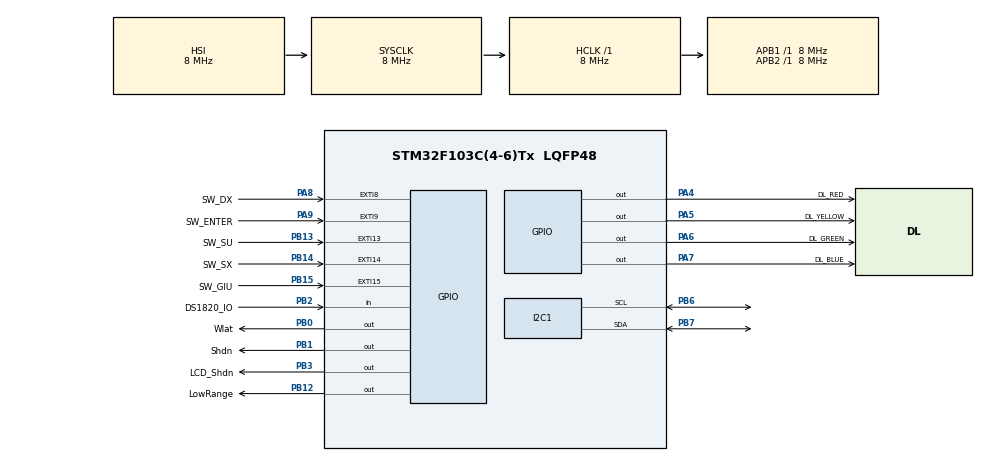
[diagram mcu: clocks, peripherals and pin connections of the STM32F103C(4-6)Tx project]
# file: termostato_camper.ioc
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I2C1.I2C_Mode=I2C_Fast
I2C1.NoStretchMode=I2C_NOSTRETCH_ENABLE
Mcu.Family=STM32F1
Mcu.Name=STM32F103C(4-6)Tx
Mcu.Package=LQFP48
Mcu.UserConstants=mcp_addr,0x3c;HundredMsTimer1,99
NVIC.EXTI15_10_IRQn=true\:0\:0\:false\:false\:true\:true\:true\:true
NVIC.EXTI9_5_IRQn=true\:0\:0\:false\:false\:true\:true\:true\:true
NVIC.PriorityGroup=NVIC_PRIORITYGROUP_4
NVIC.RTC_Alarm_IRQn=true\:0\:0\:false\:false\:true\:true\:true\:true
NVIC.TIM1_CC_IRQn=true\:0\:0\:false\:false\:true\:true\:true\:true
NVIC.TIM1_UP_IRQn=true\:0\:0\:false\:false\:true\:true\:true\:true
NVIC.TIM2_IRQn=true\:0\:0\:false\:false\:true\:true\:true\:true
PA13.Mode=Serial_Wire
PA13.Signal=SYS_JTMS-SWDIO
PA14.Mode=Serial_Wire
PA14.Signal=SYS_JTCK-SWCLK
PA4.GPIO_Label=DL_RED
PA4.PinState=GPIO_PIN_SET
PA4.Signal=GPIO_Output
PA5.GPIO_Label=DL_YELLOW
PA5.PinState=GPIO_PIN_SET
PA5.Signal=GPIO_Output
PA6.GPIO_Label=DL_GREEN
PA6.PinState=GPIO_PIN_SET
PA6.Signal=GPIO_Output
PA7.GPIO_Label=DL_BLUE
PA7.PinState=GPIO_PIN_SET
PA7.Signal=GPIO_Output
PA8.GPIO_Label=SW_DX
PA8.GPIO_ModeDefaultEXTI=GPIO_MODE_IT_RISING_FALLING
PA8.GPIO_PuPd=GPIO_PULLUP
PA8.Signal=GPXTI8
PA9.GPIO_Label=SW_ENTER
PA9.GPIO_ModeDefaultEXTI=GPIO_MODE_IT_RISING_FALLING
PA9.GPIO_PuPd=GPIO_PULLUP
PA9.Signal=GPXTI9
PB0.GPIO_Label=Wlat
PB0.Signal=GPIO_Output
PB1.GPIO_Label=Shdn
PB1.PinState=GPIO_PIN_SET
PB1.Signal=GPIO_Output
PB12.GPIO_Label=LowRange
PB12.Signal=GPIO_Output
PB13.GPIO_Label=SW_SU
PB13.GPIO_ModeDefaultEXTI=GPIO_MODE_IT_RISING_FALLING
PB13.GPIO_PuPd=GPIO_PULLUP
PB13.Signal=GPXTI13
PB14.GPIO_Label=SW_SX
PB14.GPIO_ModeDefaultEXTI=GPIO_MODE_IT_RISING_FALLING
PB14.GPIO_PuPd=GPIO_PULLUP
PB14.Signal=GPXTI14
PB15.GPIO_Label=SW_GIU
PB15.GPIO_ModeDefaultEXTI=GPIO_MODE_IT_RISING_FALLING
PB15.GPIO_PuPd=GPIO_PULLUP
PB15.Signal=GPXTI15
PB2.GPIO_Label=DS1820_IO
PB2.Signal=GPIO_Input
PB3.GPIO_Label=LCD_Shdn
PB3.Signal=GPIO_Output
PB6.Mode=I2C
PB6.Signal=I2C1_SCL
PB7.Mode=I2C
PB7.Signal=I2C1_SDA
ProjectManager.HeapSize=0x200
ProjectManager.StackSize=0x400
ProjectManager.TargetToolchain=STM32CubeIDE
RCC.AHBFreq_Value=8000000
RCC.APB1Freq_Value=8000000
RCC.APB1TimFreq_Value=8000000
RCC.APB2Freq_Value=8000000
RCC.APB2TimFreq_Value=8000000
RCC.HCLKFreq_Value=8000000
RCC.SYSCLKFreq_VALUE=8000000
RCC.USBFreq_Value=8000000
TIM1.AutoReloadPreload=TIM_AUTORELOAD_PRELOAD_ENABLE
TIM1.Period=HundredMsTimer1
TIM1.Prescaler=7999
TIM2.AutoReloadPreload=TIM_AUTORELOAD_PRELOAD_ENABLE
TIM2.Period=249
TIM2.Prescaler=32000-1
TIM3.AutoReloadPreload=TIM_AUTORELOAD_PRELOAD_ENABLE
TIM3.Period=65535
TIM3.Prescaler=7
VP_RTC_VS_RTC_Activate.Mode=RTC_Enabled
VP_TIM1_VS_ClockSourceINT.Mode=Internal
VP_TIM2_VS_ClockSourceINT.Mode=Internal
VP_TIM3_VS_ClockSourceINT.Mode=Internal
board=custom

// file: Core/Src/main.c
/* USER CODE BEGIN Header */
/**
 ******************************************************************************
 * @file           : main.c
 * @brief          : Main program body
 ******************************************************************************
 * @attention
 *
 * Copyright (c) 2024 STMicroelectronics.
 * All rights reserved.
 *
 * This software is licensed under terms that can be found in the LICENSE file
 * in the root directory of this software component.
 * If no LICENSE file comes with this software, it is provided AS-IS.
 *
 ******************************************************************************
 */
/* USER CODE END Header */
#include "main.h"

/* USER CODE BEGIN Includes */
#include <stdio.h>
#include <math.h>
#include "ds18b20.h"
#include "ssd1306.h"
#include "mcp45hv51.h"
#include "eeprom.h"

/* USER CODE END Includes */

/* USER CODE BEGIN PD */

#define MAIN_MENU_IDX 		0
#define ROW_CHANGED(data)	(data & 0x10)
#define ROW_CHANGE_CLEAR  	0xcf
#define ROW_CHANGE_SET		0x10
#define ROW_SETTING_ON		0x20
#define ROW_SELECTED_MASK   0x0f

#define BUTTON_LONG_TIME		5;

#define WIPER_UPPER_STEP 		255
#define WIPER_RES				5000.0
#define WIPER_OHMxSTEP 			(WIPER_RES/WIPER_UPPER_STEP)
#define WIPER_OHM_AT_POS(pos)	((pos*WIPER_RES)/WIPER_UPPER_STEP)

#define BASE_RES 		10000
#define REF_TEMP 		(25+273.25)
#define REF_TEMP_INV	(1/REF_TEMP)

#define SETTING_POS_CHAR 12
#define SETTING_MAX_ROW 4

#define HAS_DIAG 0

/* USER CODE END PD */

I2C_HandleTypeDef hi2c1;

RTC_HandleTypeDef hrtc;

TIM_HandleTypeDef htim1;
TIM_HandleTypeDef htim2;
TIM_HandleTypeDef htim3;

/* USER CODE BEGIN PV */
char display_row[SSD1306_WIDTH / 7 + 1];
unsigned char hasToGoInStop;
//uint8_t setTempH, setTempL;

//eeprom stored data
uint16_t __attribute__ ((section (".noinit"))) beta;
uint16_t __attribute__ ((section (".noinit"))) lowRes_value;
uint16_t __attribute__ ((section (".noinit"))) ohm_correction;
uint16_t __attribute__ ((section (".noinit"))) loopTime;
uint16_t __attribute__ ((section (".noinit"))) tempSet;
uint16_t __attribute__ ((section (".noinit"))) thresh_temp;
uint16_t __attribute__ ((section (".noinit"))) deltaT;
uint16_t __attribute__ ((section (".noinit"))) deltaR;

uint16_t loopCycles;

//         T * T0      Rt
// Beta = -------- ln ----
//         T0 - T      R0

//                           1     1
// Rt = R0 * exp ( Beta * ( --- - --- )
//                           T     T0

//             Beta
// T = ---------------------
//          Rt     Beta
//      ln ---- + ------
//          R0*     T0

//uint16_t beta;  // T1 = 25 + 273.15

// menu related
typedef void (*menuMethodPtr)(void);
typedef struct menuItem {
	uint8_t ref;
	uint8_t prev;
	uint8_t next;
	char *title;
	menuMethodPtr fptr;
	uint8_t tout;
} menuItem_t;

#if defined HAS_DIAG && HAS_DIAG == 1
menuItem_t menu[] = { { MAIN_MENU_IDX, MAIN_MENU_IDX, 1, "Main", mainmenu, 30 }, { 1, MAIN_MENU_IDX, 2, "Diagnostica", diagnostic, 30 }, { 2, 1, 3,
		"T. Settings", settingsTemp, 30 }, { 3, 2, 3, "Gen Settings", settingsGlob, 30 } };
#else
menuItem_t menu[] = { { MAIN_MENU_IDX, MAIN_MENU_IDX, 1, "Main", mainmenu, 30 }, { 1, MAIN_MENU_IDX, 2,
		"T. Settings", settingsTemp, 30 }, { 2, 1, 2, "Gen Settings", settingsGlob, 30 } };
#endif

uint8_t buttonTime = 0;
uint8_t currentMenu = 0;
uint8_t display2Update = 1;
uint8_t selectedRow = 1;
uint8_t mode;
uint8_t displayTime2Wait = 30;
// button related
// must be thread safe
uint16_t buttons_state = 0;
//uint8_t settings_mode = 0;

/* USER CODE END PV */

void SystemClock_Config(void);
static void MX_GPIO_Init(void);
static void MX_I2C1_Init(void);
static void MX_TIM3_Init(void);
static void MX_TIM1_Init(void);
static void MX_RTC_Init(void);
static void MX_TIM2_Init(void);

int main(void)
{

  /* MCU Configuration--------------------------------------------------------*/

  /* Reset of all peripherals, Initializes the Flash interface and the Systick. */
  HAL_Init();

  /* Configure the system clock */
  SystemClock_Config();

  /* Initialize all configured peripherals */
  MX_GPIO_Init();
  MX_I2C1_Init();
  MX_TIM3_Init();
  MX_TIM1_Init();
  MX_RTC_Init();
  MX_TIM2_Init();

  /* Infinite loop */
  /* USER CODE BEGIN WHILE */
	eepromInit();
	loadDataFromEEprom();
	// for Temperature Acquisition
	HAL_TIM_Base_Start(&htim3);
	HAL_TIM_Base_Start_IT(&htim1);
	HAL_TIM_Base_Start_IT(&htim2);
	//HAL_TIMEx_OCN_Start_IT(&htim1, TIM_CHANNEL_1);

	// take return value ...
	mcp45hv51_Init();

	SSD1306_Init();
	SSD1306_GotoXY(0, 0);
	SSD1306_Puts("      TRUMA", &Font_7x10, 1);
	SSD1306_GotoXY(0, 12);
	SSD1306_Puts("  Emulatore NTC", &Font_7x10, 1);
	SSD1306_GotoXY(0, 24);
//	sprintf(display_row, "WIPER POS: %u", readWiper());

	SSD1306_Puts(display_row, &Font_7x10, 1);
	SSD1306_UpdateScreen();
	HAL_Delay(1000);
	display2Update = 1;
	currentMenu = 0;
	hasToGoInStop = 0;
	uint8_t oldGoInStop = hasToGoInStop;
	while (1) {
		if(oldGoInStop == 1 && oldGoInStop != hasToGoInStop) {
//			//waked-up by external interrupt restore
			SSD1306_ON();
			SSD1306_Init();
			oldGoInStop = hasToGoInStop;
		}
		//check if timeout reached
		if(displayTime2Wait==0) {
			//discard every parameter changes
			selectedRow &= ~ROW_SETTING_ON;
			selectedRow |= ROW_CHANGE_SET;
			loadDataFromEEprom();
			//if already on main menu then shutdown the display and enable the hasToGoInStop
			if(currentMenu == MAIN_MENU_IDX) {
				hasToGoInStop = 1;
				oldGoInStop = hasToGoInStop;
				SSD1306_OFF();
			}
			else {
				//return to the main menu
				currentMenu = MAIN_MENU_IDX;
				//reload the timer for the main menu
				displayTime2Wait= menu[currentMenu].tout;
				display2Update = 1;
			}
		}
		if (display2Update != 0) {
			updateMenu();
		}

		if (hasToGoInStop == 0) {
			menu[currentMenu].fptr();
			SSD1306_UpdateScreen();
		}
		settingOperation();
    /* USER CODE END WHILE */

    /* USER CODE BEGIN 3 */
		//HAL_Delay(200); //system wait

		if (hasToGoInStop == 1) {
			//set a mock time
			RTC_TimeTypeDef time = { 10U, 11U, 10U };
			HAL_RTC_SetTime(&hrtc, &time, RTC_FORMAT_BIN);

			// set alarm time for 20 RTC cycle about 20 sec
			RTC_AlarmTypeDef alarm = { { 10U, 11U, 30U }, RTC_ALARM_A };
			HAL_RTC_SetAlarm_IT(&hrtc, &alarm, RTC_FORMAT_BIN);

			/*Suspend Tick increment to prevent wakeup by Systick interrupt.
			 Otherwise the Systick interrupt will wake up the device within 1ms (HAL time base)*/
			HAL_SuspendTick();
			//stop timer 1 to avoid interrupt
			HAL_TIM_Base_Stop_IT(&htim1);
			//stop timer 2 to avoid interrupt
			HAL_TIM_Base_Stop_IT(&htim2);
			//go in stop mode. it we waked up from alarm every 20s
			__HAL_PWR_CLEAR_FLAG(PWR_FLAG_WU);
			//Go in stop mode
			//HAL_PWR_EnterSTOPMode(PWR_MAINREGULATOR_ON, PWR_STOPENTRY_WFI);
			HAL_PWR_EnterSTOPMode(PWR_LOWPOWERREGULATOR_ON, PWR_STOPENTRY_WFI);
			//waked up from RTC or by pressing a button
			//restore other form of interrupt
			HAL_ResumeTick();
			//restart timers
			HAL_TIM_Base_Start_IT(&htim1);
			HAL_TIM_Base_Start_IT(&htim2);

		} // end if hasToCoInStop

	}
  /* USER CODE END 3 */
}

void SystemClock_Config(void)
{
  RCC_OscInitTypeDef RCC_OscInitStruct = {0};
  RCC_ClkInitTypeDef RCC_ClkInitStruct = {0};
  RCC_PeriphCLKInitTypeDef PeriphClkInit = {0};

  /** Initializes the RCC Oscillators according to the specified parameters
  * in the RCC_OscInitTypeDef structure.
  */
  RCC_OscInitStruct.OscillatorType = RCC_OSCILLATORTYPE_HSI|RCC_OSCILLATORTYPE_LSI;
  RCC_OscInitStruct.HSIState = RCC_HSI_ON;
  RCC_OscInitStruct.HSICalibrationValue = RCC_HSICALIBRATION_DEFAULT;
  RCC_OscInitStruct.LSIState = RCC_LSI_ON;
  RCC_OscInitStruct.PLL.PLLState = RCC_PLL_NONE;
  if (HAL_RCC_OscConfig(&RCC_OscInitStruct) != HAL_OK)
  {
    Error_Handler();
  }

  /** Initializes the CPU, AHB and APB buses clocks
  */
  RCC_ClkInitStruct.ClockType = RCC_CLOCKTYPE_HCLK|RCC_CLOCKTYPE_SYSCLK
                              |RCC_CLOCKTYPE_PCLK1|RCC_CLOCKTYPE_PCLK2;
  RCC_ClkInitStruct.SYSCLKSource = RCC_SYSCLKSOURCE_HSI;
  RCC_ClkInitStruct.AHBCLKDivider = RCC_SYSCLK_DIV1;
  RCC_ClkInitStruct.APB1CLKDivider = RCC_HCLK_DIV1;
  RCC_ClkInitStruct.APB2CLKDivider = RCC_HCLK_DIV1;

  if (HAL_RCC_ClockConfig(&RCC_ClkInitStruct, FLASH_LATENCY_0) != HAL_OK)
  {
    Error_Handler();
  }
  PeriphClkInit.PeriphClockSelection = RCC_PERIPHCLK_RTC;
  PeriphClkInit.RTCClockSelection = RCC_RTCCLKSOURCE_LSI;
  if (HAL_RCCEx_PeriphCLKConfig(&PeriphClkInit) != HAL_OK)
  {
    Error_Handler();
  }
}

static void MX_I2C1_Init(void)
{

  hi2c1.Instance = I2C1;
  hi2c1.Init.ClockSpeed = 400000;
  hi2c1.Init.DutyCycle = I2C_DUTYCYCLE_2;
  hi2c1.Init.OwnAddress1 = 0;
  hi2c1.Init.AddressingMode = I2C_ADDRESSINGMODE_7BIT;
  hi2c1.Init.DualAddressMode = I2C_DUALADDRESS_DISABLE;
  hi2c1.Init.OwnAddress2 = 0;
  hi2c1.Init.GeneralCallMode = I2C_GENERALCALL_DISABLE;
  hi2c1.Init.NoStretchMode = I2C_NOSTRETCH_ENABLE;
  if (HAL_I2C_Init(&hi2c1) != HAL_OK)
  {
    Error_Handler();
  }

}

static void MX_RTC_Init(void)
{

  /** Initialize RTC Only
  */
  hrtc.Instance = RTC;
  hrtc.Init.AsynchPrediv = RTC_AUTO_1_SECOND;
  hrtc.Init.OutPut = RTC_OUTPUTSOURCE_ALARM;
  if (HAL_RTC_Init(&hrtc) != HAL_OK)
  {
    Error_Handler();
  }

}

static void MX_TIM1_Init(void)
{

  TIM_ClockConfigTypeDef sClockSourceConfig = {0};
  TIM_MasterConfigTypeDef sMasterConfig = {0};

  htim1.Instance = TIM1;
  htim1.Init.Prescaler = 7999;
  htim1.Init.CounterMode = TIM_COUNTERMODE_UP;
  htim1.Init.Period = HundredMsTimer1;
  htim1.Init.ClockDivision = TIM_CLOCKDIVISION_DIV1;
  htim1.Init.RepetitionCounter = 0;
  htim1.Init.AutoReloadPreload = TIM_AUTORELOAD_PRELOAD_ENABLE;
  if (HAL_TIM_Base_Init(&htim1) != HAL_OK)
  {
    Error_Handler();
  }
  sClockSourceConfig.ClockSource = TIM_CLOCKSOURCE_INTERNAL;
  if (HAL_TIM_ConfigClockSource(&htim1, &sClockSourceConfig) != HAL_OK)
  {
    Error_Handler();
  }
  sMasterConfig.MasterOutputTrigger = TIM_TRGO_RESET;
  sMasterConfig.MasterSlaveMode = TIM_MASTERSLAVEMODE_DISABLE;
  if (HAL_TIMEx_MasterConfigSynchronization(&htim1, &sMasterConfig) != HAL_OK)
  {
    Error_Handler();
  }

}

static void MX_TIM2_Init(void)
{

  TIM_ClockConfigTypeDef sClockSourceConfig = {0};
  TIM_MasterConfigTypeDef sMasterConfig = {0};

  htim2.Instance = TIM2;
  htim2.Init.Prescaler = 32000-1;
  htim2.Init.CounterMode = TIM_COUNTERMODE_UP;
  htim2.Init.Period = 249;
  htim2.Init.ClockDivision = TIM_CLOCKDIVISION_DIV1;
  htim2.Init.AutoReloadPreload = TIM_AUTORELOAD_PRELOAD_ENABLE;
  if (HAL_TIM_Base_Init(&htim2) != HAL_OK)
  {
    Error_Handler();
  }
  sClockSourceConfig.ClockSource = TIM_CLOCKSOURCE_INTERNAL;
  if (HAL_TIM_ConfigClockSource(&htim2, &sClockSourceConfig) != HAL_OK)
  {
    Error_Handler();
  }
  sMasterConfig.MasterOutputTrigger = TIM_TRGO_RESET;
  sMasterConfig.MasterSlaveMode = TIM_MASTERSLAVEMODE_DISABLE;
  if (HAL_TIMEx_MasterConfigSynchronization(&htim2, &sMasterConfig) != HAL_OK)
  {
    Error_Handler();
  }

}

static void MX_TIM3_Init(void)
{

  TIM_ClockConfigTypeDef sClockSourceConfig = {0};
  TIM_MasterConfigTypeDef sMasterConfig = {0};

  htim3.Instance = TIM3;
  htim3.Init.Prescaler = 7;
  htim3.Init.CounterMode = TIM_COUNTERMODE_UP;
  htim3.Init.Period = 65535;
  htim3.Init.ClockDivision = TIM_CLOCKDIVISION_DIV1;
  htim3.Init.AutoReloadPreload = TIM_AUTORELOAD_PRELOAD_ENABLE;
  if (HAL_TIM_Base_Init(&htim3) != HAL_OK)
  {
    Error_Handler();
  }
  sClockSourceConfig.ClockSource = TIM_CLOCKSOURCE_INTERNAL;
  if (HAL_TIM_ConfigClockSource(&htim3, &sClockSourceConfig) != HAL_OK)
  {
    Error_Handler();
  }
  sMasterConfig.MasterOutputTrigger = TIM_TRGO_RESET;
  sMasterConfig.MasterSlaveMode = TIM_MASTERSLAVEMODE_DISABLE;
  if (HAL_TIMEx_MasterConfigSynchronization(&htim3, &sMasterConfig) != HAL_OK)
  {
    Error_Handler();
  }

}

static void MX_GPIO_Init(void)
{
  GPIO_InitTypeDef GPIO_InitStruct = {0};

  /* GPIO Ports Clock Enable */
  __HAL_RCC_GPIOA_CLK_ENABLE();
  __HAL_RCC_GPIOB_CLK_ENABLE();

  /*Configure GPIO pin Output Level */
  HAL_GPIO_WritePin(GPIOA, DL_RED_Pin|DL_YELLOW_Pin|DL_GREEN_Pin|DL_BLUE_Pin, GPIO_PIN_SET);

  /*Configure GPIO pin Output Level */
  HAL_GPIO_WritePin(GPIOB, Wlat_Pin|LowRange_Pin|LCD_Shdn_Pin, GPIO_PIN_RESET);

  /*Configure GPIO pin Output Level */
  HAL_GPIO_WritePin(Shdn_GPIO_Port, Shdn_Pin, GPIO_PIN_SET);

  /*Configure GPIO pins : DL_RED_Pin DL_YELLOW_Pin DL_GREEN_Pin DL_BLUE_Pin */
  GPIO_InitStruct.Pin = DL_RED_Pin|DL_YELLOW_Pin|DL_GREEN_Pin|DL_BLUE_Pin;
  GPIO_InitStruct.Mode = GPIO_MODE_OUTPUT_PP;
  GPIO_InitStruct.Pull = GPIO_NOPULL;
  GPIO_InitStruct.Speed = GPIO_SPEED_FREQ_LOW;
  HAL_GPIO_Init(GPIOA, &GPIO_InitStruct);

  /*Configure GPIO pins : Wlat_Pin Shdn_Pin LowRange_Pin LCD_Shdn_Pin */
  GPIO_InitStruct.Pin = Wlat_Pin|Shdn_Pin|LowRange_Pin|LCD_Shdn_Pin;
  GPIO_InitStruct.Mode = GPIO_MODE_OUTPUT_PP;
  GPIO_InitStruct.Pull = GPIO_NOPULL;
  GPIO_InitStruct.Speed = GPIO_SPEED_FREQ_LOW;
  HAL_GPIO_Init(GPIOB, &GPIO_InitStruct);

  /*Configure GPIO pin : DS1820_IO_Pin */
  GPIO_InitStruct.Pin = DS1820_IO_Pin;
  GPIO_InitStruct.Mode = GPIO_MODE_INPUT;
  GPIO_InitStruct.Pull = GPIO_NOPULL;
  HAL_GPIO_Init(DS1820_IO_GPIO_Port, &GPIO_InitStruct);

  /*Configure GPIO pins : SW_SU_Pin SW_SX_Pin SW_GIU_Pin */
  GPIO_InitStruct.Pin = SW_SU_Pin|SW_SX_Pin|SW_GIU_Pin;
  GPIO_InitStruct.Mode = GPIO_MODE_IT_RISING_FALLING;
  GPIO_InitStruct.Pull = GPIO_PULLUP;
  HAL_GPIO_Init(GPIOB, &GPIO_InitStruct);

  /*Configure GPIO pins : SW_DX_Pin SW_ENTER_Pin */
  GPIO_InitStruct.Pin = SW_DX_Pin|SW_ENTER_Pin;
  GPIO_InitStruct.Mode = GPIO_MODE_IT_RISING_FALLING;
  GPIO_InitStruct.Pull = GPIO_PULLUP;
  HAL_GPIO_Init(GPIOA, &GPIO_InitStruct);

  /* EXTI interrupt init*/
  HAL_NVIC_SetPriority(EXTI9_5_IRQn, 0, 0);
  HAL_NVIC_EnableIRQ(EXTI9_5_IRQn);

  HAL_NVIC_SetPriority(EXTI15_10_IRQn, 0, 0);
  HAL_NVIC_EnableIRQ(EXTI15_10_IRQn);

}

/* USER CODE BEGIN 4 */

uint8_t getWiperRFromTemp(uint8_t taH, uint8_t taL, uint16_t *resT, uint16_t *res) {
	uint8_t wiper = 0xff;
	float resistance = 10000;
	float currentTemp = 273.25;

	int16_t temp = evalTempEquival(taH, taL);
	// check if T is in the linearization zone
	int16_t dT = temp - thresh_temp;
	if (dT > (-deltaT) && dT < deltaT) {
		// in this case we apply a new and specific rule base on hysteresisR/hysteresisT
		currentTemp += (thresh_temp / 10.0);
		float resistanceBase = BASE_RES * exp(-beta * (REF_TEMP_INV - 1 / currentTemp));
		// now apply a linear constrain based on provide data
		int16_t dR = -(dT * deltaR) / deltaT; // LPP check the sign this behavior must be like an NTC
		resistance = resistanceBase + dR;
	} else {
		currentTemp += (temp / 10.0);
		resistance = BASE_RES * exp(-beta * (REF_TEMP_INV - 1 / currentTemp));
	}
	*resT=(uint16_t)resistance;
	resistance -= ohm_correction;

	if (resistance > WIPER_RES) {
		setLowRange(1);
		resistance -= lowRes_value;
	} else {
		setLowRange(0);
	}
	*res=(uint16_t)resistance;
	wiper=255;
	if (resistance <= WIPER_RES) {
		wiper = (resistance / WIPER_OHMxSTEP);
	}
	return wiper;
}

void mainmenu() {
	//{0,0,1,"Main", mainmenu, 30}
	// on first available row -> below title 7x10
	uint8_t Temp_byte; //, Temp_byte2;
	uint16_t TEMP;
	uint8_t yPos = Font_7x10.FontHeight + 1;
	//Temperature Acquisition
	DS18B20_Start();
	HAL_Delay(1);
	DS18B20_Write(0xCC);  // skip ROM
	DS18B20_Write(0x44);  // convert t
	HAL_Delay(3);
	DS18B20_Start();
	HAL_Delay(1);
	DS18B20_Write(0xCC);  // skip ROM
	DS18B20_Write(0xBE);  // Read Scratch-pad
	Temp_byte = DS18B20_Read();
	TEMP = (DS18B20_Read() << 8) | Temp_byte;
	SSD1306_GotoXY(0, yPos);
	uint8_t tempH = (TEMP / 16);
	uint8_t tempL = (TEMP * 10 / 16 - tempH * 10);
	sprintf(display_row, "Amb Temp: %2u.%1u", tempH, tempL);
	//SSD1306_Puts(display_row, &Font_11x18, 1);
	SSD1306_Puts(display_row, &Font_7x10, 1);
	// on second row -> below temp 11x18
	//yPos += Font_11x18.FontHeight+1;
	yPos += Font_7x10.FontHeight + 1;
	SSD1306_GotoXY(0, yPos);
	uint8_t setTempH = (tempSet / 10);
	uint8_t setTempL = tempSet - (setTempH * 10);

	sprintf(display_row, "Set Temp: %2u.%1u", setTempH, setTempL);
	SSD1306_Puts(display_row, &Font_7x10, 1);

	//uint8_t newWiper = getWiperFromTemp(tempH, tempL);
	uint16_t resTArg, res;
	uint8_t newWiper = getWiperRFromTemp(tempH, tempL, &resTArg, &res);
	writeWiper(newWiper);

	///// TO REMOVE ////////////////////////
	yPos += Font_7x10.FontHeight + 1;
	SSD1306_GotoXY(0, yPos);
	sprintf(display_row, "Rt=%5u;R:%5u", resTArg, res);
	SSD1306_Puts(display_row, &Font_7x10, 1);

	uint8_t wiper = readWiper();
	yPos += Font_7x10.FontHeight + 1;
	SSD1306_GotoXY(0, yPos);
//	sprintf(display_row, "Wiper: %3u", wiper);
	sprintf(display_row, "Wiper: %3u", wiper);
	SSD1306_Puts(display_row, &Font_7x10, 1);
	////////////////////////////////////////

	SSD1306_UpdateScreen(); // added also here to avoid delay

//	loopCycles = (loopTime * 5) - 1; //hyp small loop are 200ms
//	while (loopCycles > 0) {
//		HAL_Delay(200);
//		loopCycles--;
//	}

}

void settingOperation() {
	uint8_t Temp_byte; //, Temp_byte2;
	uint16_t TEMP;
	//Temperature Acquisition
	DS18B20_Start();
	HAL_Delay(1);
	DS18B20_Write(0xCC);  // skip ROM
	DS18B20_Write(0x44);  // convert t
	HAL_Delay(3);
	DS18B20_Start();
	HAL_Delay(1);
	DS18B20_Write(0xCC);  // skip ROM
	DS18B20_Write(0xBE);  // Read Scratch-pad
	Temp_byte = DS18B20_Read();
	TEMP = (DS18B20_Read() << 8) | Temp_byte;
	uint8_t tempH = (TEMP / 16);
	uint8_t tempL = (TEMP * 10 / 16 - tempH * 10);

	uint16_t r1, r2;
	uint8_t newWiper = getWiperRFromTemp(tempH, tempL, &r1, &r2);
	writeWiper(newWiper);

	loopCycles = (loopTime * 5) - 1; //hyp small loop are 200ms
	while (loopCycles > 0) {
		HAL_Delay(200);
		loopCycles--;
	}

}

void diagnostic() {
#if defined HAS_DIAG && HAS_DIAG == 1
	//{1,0,2,"Diagnostica", diagnostic, 30},
	// on first available row -> below title 7x10
	uint8_t yPos = Font_7x10.FontHeight + 1;
	uint8_t wiper = readWiper();

	int ntcValue = evalResistance(wiper);
	uint8_t equTempH;
	uint8_t equTempL;
	evalTemp(ntcValue, &equTempH, &equTempL);

	SSD1306_GotoXY(0, yPos);
	sprintf(display_row, "wiper set: %3u", wiper);
	SSD1306_Puts(display_row, &Font_7x10, 1);
	yPos += Font_7x10.FontHeight + 1;
	SSD1306_GotoXY(0, yPos);
	sprintf(display_row, "r %5d, t %2u.%1u", ntcValue, equTempH, equTempL);
	SSD1306_Puts(display_row, &Font_7x10, 1);

	uint8_t Temp_byte; //, Temp_byte2;
	uint16_t TEMP;

	//Temperature Acquisition
	DS18B20_Start();
	HAL_Delay(1);
	DS18B20_Write(0xCC);  // skip ROM
	DS18B20_Write(0x44);  // convert t
	HAL_Delay(3);
	DS18B20_Start();
	HAL_Delay(1);
	DS18B20_Write(0xCC);  // skip ROM
	DS18B20_Write(0xBE);  // Read Scratch-pad
	Temp_byte = DS18B20_Read();
	TEMP = (DS18B20_Read() << 8) | Temp_byte;
	uint8_t tempH = (TEMP / 16);
	uint8_t tempL = (TEMP * 10 / 16 - tempH * 10);

	yPos += Font_7x10.FontHeight + 1;
	SSD1306_GotoXY(0, yPos);
	wiper = getWiperFromTemp(tempH, tempL);
	ntcValue = evalResistance(wiper);
	sprintf(display_row, "Tamb: %2u.%1u", tempH, tempL);
	SSD1306_Puts(display_row, &Font_7x10, 1);
	yPos += Font_7x10.FontHeight + 1;
	SSD1306_GotoXY(0, yPos);
	sprintf(display_row, "wip:%3u res:%5u", wiper, ntcValue);
	SSD1306_Puts(display_row, &Font_7x10, 1);
#endif
}

void settingsGlob() {
	//{3,2,3,"Impostazioni", settings, 30}
	if ((selectedRow & ROW_SETTING_ON) != 0) {
		uint8_t xPos = SETTING_POS_CHAR * Font_7x10.FontWidth;
		uint8_t yPos = (selectedRow & ROW_SELECTED_MASK) * (Font_7x10.FontHeight + 2) - 1;
		SSD1306_DrawFilledRectangle(0, yPos, xPos, Font_7x10.FontHeight, SSD1306_COLOR_WHITE);
		SSD1306_DrawFilledRectangle(xPos, yPos, SSD1306_WIDTH, Font_7x10.FontHeight, SSD1306_COLOR_BLACK);
		SSD1306_GotoXY(0, yPos);
		if ((buttons_state & SU_BTN) != 0) {
			//increment value
			switch ((selectedRow & ROW_SELECTED_MASK)) {
			case 1:
				lowRes_value += 10;
				if (lowRes_value > 6000)
					lowRes_value = 6000;
				break;
			case 2:
				ohm_correction += 10;
				if (ohm_correction > 10000)
					ohm_correction = 10000;
				break;
			case 3:
				beta += 100;
				if (beta > 10000)
					beta = 10000;
				break;
			case 4:
				loopTime += 1;
				if (beta > 180)
					beta = 180;
				break;
			default:
				break;
			}
		}
		//enter in setting mode
		if ((buttons_state & GIU_BTN) != 0) {
			//decrement value
			switch ((selectedRow & ROW_SELECTED_MASK)) {
			case 1:
				lowRes_value -= 10;
				if (lowRes_value < 4000)
					lowRes_value = 4000;
				break;
			case 2:
				ohm_correction -= 10;
				if (ohm_correction < 100)
					ohm_correction = 100;

				break;
			case 3:
				beta -= 100;
				if (beta < 3000)
					beta = 3000;
				break;
			case 4:
				loopTime -= 1;
				if (beta < 1)
					beta = 1;
				break;
			default:
				break;
			}
		}

		switch ((selectedRow & ROW_SELECTED_MASK)) {
		case 1:
			sprintf(display_row, "Low Resis. :%5u", lowRes_value);
			break;
		case 2:
			sprintf(display_row, "Resistance :%5u", ohm_correction);
			break;
		case 3:
			sprintf(display_row, "Beta       :%5u", beta);
			break;
		case 4:
			sprintf(display_row, "Loop Time  :%5u", loopTime);
			break;

		default:
			break;
		}
		SSD1306_Puts_r(display_row, &Font_7x10, SETTING_POS_CHAR, SSD1306_COLOR_WHITE);
	}

	if (ROW_CHANGED(selectedRow) == 0)
		return;
	selectedRow &= ROW_CHANGE_CLEAR;
	uint8_t yPos = Font_7x10.FontHeight + 2;
	uint8_t color = SSD1306_COLOR_WHITE;
	uint8_t row = 1;
	SSD1306_DrawFilledRectangle(0, yPos - 1, SSD1306_WIDTH, SSD1306_HEIGHT - yPos, SSD1306_COLOR_BLACK);

	if (selectedRow == row) {
		color = SSD1306_COLOR_BLACK;
		SSD1306_DrawFilledRectangle(0, yPos - 1, SSD1306_WIDTH, Font_7x10.FontHeight, SSD1306_COLOR_WHITE);
	}
	SSD1306_GotoXY(0, yPos);
	sprintf(display_row, "Low Resis. :%5u", lowRes_value);
	SSD1306_Puts(display_row, &Font_7x10, color);

	row++;
	color = SSD1306_COLOR_WHITE;
	yPos += Font_7x10.FontHeight + 2;
	if (selectedRow == row) {
		color = SSD1306_COLOR_BLACK;
		SSD1306_DrawFilledRectangle(0, yPos - 1, SSD1306_WIDTH, Font_7x10.FontHeight, SSD1306_COLOR_WHITE);
	}
	SSD1306_GotoXY(0, yPos);
	sprintf(display_row, "Resistenza :%5u", ohm_correction);
	SSD1306_Puts(display_row, &Font_7x10, color);

	row++;
	color = SSD1306_COLOR_WHITE;
	yPos += Font_7x10.FontHeight + 2;
	if (selectedRow == row) {
		color = SSD1306_COLOR_BLACK;
		SSD1306_DrawFilledRectangle(0, yPos - 1, SSD1306_WIDTH, Font_7x10.FontHeight, SSD1306_COLOR_WHITE);
	}
	SSD1306_GotoXY(0, yPos);
	sprintf(display_row, "Beta       :%5u", beta);
	SSD1306_Puts(display_row, &Font_7x10, color);

	row++;
	color = SSD1306_COLOR_WHITE;
	yPos += Font_7x10.FontHeight + 2;
	if (selectedRow == row) {
		color = SSD1306_COLOR_BLACK;
		SSD1306_DrawFilledRectangle(0, yPos - 1, SSD1306_WIDTH, Font_7x10.FontHeight, SSD1306_COLOR_WHITE);
	}
	SSD1306_GotoXY(0, yPos);
	sprintf(display_row, "Loop Time  :%5u", loopTime);
	SSD1306_Puts(display_row, &Font_7x10, color);
}

void settingsTemp() {
	//{2,1,3,"Impostazioni", settings, 30}

	if ((selectedRow & ROW_SETTING_ON) != 0) {
		uint8_t xPos = SETTING_POS_CHAR * Font_7x10.FontWidth;
		uint8_t yPos = (selectedRow & ROW_SELECTED_MASK) * (Font_7x10.FontHeight + 2) - 1;
		SSD1306_DrawFilledRectangle(0, yPos, xPos, Font_7x10.FontHeight, SSD1306_COLOR_WHITE);
		SSD1306_DrawFilledRectangle(xPos, yPos, SSD1306_WIDTH, Font_7x10.FontHeight, SSD1306_COLOR_BLACK);
		SSD1306_GotoXY(0, yPos);
		if ((buttons_state & SU_BTN) != 0) {
			//increment value
			switch ((selectedRow & ROW_SELECTED_MASK)) {
			case 1:
				tempSet++;
				if (tempSet > 300)
					tempSet = 300;

				break;
			case 2:
				thresh_temp++;
				if (thresh_temp > 300)
					thresh_temp = 300;
				break;
			case 3:
				deltaT++;
				if (deltaT > 500)
					deltaT = 500;
				break;
			case 4:
				deltaR += 10;
				if (deltaR > 1000)
					deltaR = 1000;
				break;
			default:
				break;
			}
		}
		//enter in setting mode
		if ((buttons_state & GIU_BTN) != 0) {
			//decrement value
			switch ((selectedRow & ROW_SELECTED_MASK)) {
			case 1:
				tempSet--;
				if (tempSet < 100)
					tempSet = 100;
				break;
			case 2:
				thresh_temp--;
				if (thresh_temp < 100)
					thresh_temp = 100;
				break;
			case 3:
				deltaT--;
				if (deltaT < 5)
					deltaT = 5;
				break;
			case 4:
				deltaR -= 10;
				if (deltaR < 20) // minimal step for potentiometer
					deltaR = 20;
				break;
			default:
				break;
			}
		}
		uint8_t thrTempH = (thresh_temp / 10);
		uint8_t thrTempL = thresh_temp - (thrTempH * 10);
		uint8_t setTempH = (tempSet / 10);
		uint8_t setTempL = tempSet - (setTempH * 10);
		switch ((selectedRow & ROW_SELECTED_MASK)) {
		case 1:
			sprintf(display_row, "T setpoint :%3u.%1u", setTempH, setTempL);
			break;
		case 2:
			sprintf(display_row, "TrumaThr T :%3u.%1u", thrTempH, thrTempL);
			break;
		case 3:
			sprintf(display_row, "Delta Temp :%5u", deltaT);
			break;
		case 4:
			sprintf(display_row, "Delta Res. :%5u", deltaR);
			break;
		default:
			break;
		}

		SSD1306_Puts_r(display_row, &Font_7x10, SETTING_POS_CHAR, SSD1306_COLOR_WHITE);
		thresh_temp = (thrTempH * 10) + thrTempL;
	}

	if (ROW_CHANGED(selectedRow) == 0)
		return;
	selectedRow &= ROW_CHANGE_CLEAR;
	uint8_t yPos = Font_7x10.FontHeight + 2;
	uint8_t color = SSD1306_COLOR_WHITE;
	uint8_t row = 1;
	uint8_t thrTempH = (thresh_temp / 10);
	uint8_t thrTempL = thresh_temp - (thrTempH * 10);
	uint8_t setTempH = (tempSet / 10);
	uint8_t setTempL = tempSet - (setTempH * 10);
	;

	SSD1306_DrawFilledRectangle(0, yPos - 1, SSD1306_WIDTH, SSD1306_HEIGHT - yPos, SSD1306_COLOR_BLACK);
	if (selectedRow == row) {
		color = SSD1306_COLOR_BLACK;
		SSD1306_DrawFilledRectangle(0, yPos - 1, SSD1306_WIDTH, Font_7x10.FontHeight, SSD1306_COLOR_WHITE);
	}
	SSD1306_GotoXY(0, yPos);
	sprintf(display_row, "T setpoint :%3u.%1u", setTempH, setTempL);
	SSD1306_Puts(display_row, &Font_7x10, color);

	row++;
	color = SSD1306_COLOR_WHITE;
	yPos += Font_7x10.FontHeight + 2;
	if (selectedRow == row) {
		color = SSD1306_COLOR_BLACK;
		SSD1306_DrawFilledRectangle(0, yPos - 1, SSD1306_WIDTH, Font_7x10.FontHeight, SSD1306_COLOR_WHITE);
	}
	SSD1306_GotoXY(0, yPos);
	sprintf(display_row, "TrumaThr T :%3u.%1u", thrTempH, thrTempL);
	SSD1306_Puts(display_row, &Font_7x10, color);

	row++;
	color = SSD1306_COLOR_WHITE;
	yPos += Font_7x10.FontHeight + 2;
	if (selectedRow == row) {
		color = SSD1306_COLOR_BLACK;
		SSD1306_DrawFilledRectangle(0, yPos - 1, SSD1306_WIDTH, Font_7x10.FontHeight, SSD1306_COLOR_WHITE);
	}
	SSD1306_GotoXY(0, yPos);
	sprintf(display_row, "Delta Temp :%5u", deltaT);
	SSD1306_Puts(display_row, &Font_7x10, color);

	row++;
	color = SSD1306_COLOR_WHITE;
	yPos += Font_7x10.FontHeight + 2;
	if (selectedRow == row) {
		color = SSD1306_COLOR_BLACK;
		SSD1306_DrawFilledRectangle(0, yPos - 1, SSD1306_WIDTH, Font_7x10.FontHeight, SSD1306_COLOR_WHITE);
	}
	SSD1306_GotoXY(0, yPos);
	sprintf(display_row, "Delta Res. :%5u", deltaR);
	SSD1306_Puts(display_row, &Font_7x10, color);

}

void handleMenu(uint8_t sxPress) {
	if (sxPress) {
		// go back if possible
		if (menu[currentMenu].prev != currentMenu) {
			currentMenu = menu[currentMenu].prev;
			display2Update = 1; // for faster irq
			selectedRow = 1 | ROW_CHANGE_SET;
		}
	} else {
		// go next if possible
		if (menu[currentMenu].next != currentMenu) {
			currentMenu = menu[currentMenu].next;
			display2Update = 1; // for faster irq
			selectedRow = 1 | ROW_CHANGE_SET;
		}
	}
	if (menu[currentMenu].fptr != mainmenu) {
		loopCycles = 1;
	}
}

void updateMenu() {
	uint8_t nchar = strlen(menu[currentMenu].title);
	SSD1306_Clear();
	uint8_t xPos = (SSD1306_WIDTH - nchar * Font_7x10.FontWidth) / 2;
	SSD1306_GotoXY(xPos, 0);
	SSD1306_Puts(menu[currentMenu].title, &Font_7x10, 1);
	if (menu[currentMenu].prev != currentMenu) {
		SSD1306_GotoXY(0, 0);
		SSD1306_Putc('<', &Font_7x10, 1);
	}
	if (menu[currentMenu].next != currentMenu) {
		SSD1306_GotoXY(SSD1306_WIDTH - Font_7x10.FontWidth - 1, 0);
		SSD1306_Putc('>', &Font_7x10, 1);
	}
	display2Update = 0;
	displayTime2Wait=menu[currentMenu].tout;
}

void loadDataFromEEprom() {

	lowRes_value = 5000;
	ohm_correction = 7500;
	beta = 3900;
	loopTime = 1; // tempo in secondi
	tempSet = 210;

	thresh_temp = 210;
	deltaT = 5; // in decimi di grado
	deltaR = 240; // estratta da variazione curva con Delta di 1 grado a 23gradi

	eepromLoadParam(RC_KEY1, &beta);
	eepromLoadParam(RC_KEY2, &lowRes_value);
	eepromLoadParam(RC_KEY3, &ohm_correction);
	eepromLoadParam(RC_KEY4, &loopTime);

	eepromLoadParam(RC_KEY5, &tempSet);
	eepromLoadParam(RC_KEY6, &thresh_temp);
	eepromLoadParam(RC_KEY7, &deltaT);
	eepromLoadParam(RC_KEY8, &deltaR);

}

void writeDataOnEEprom() {
#ifdef DEBUG
	return;
#endif

	eepromSaveParam(RC_KEY1, &beta, sizeof(beta));
	eepromSaveParam(RC_KEY2, &lowRes_value, sizeof(lowRes_value));
	eepromSaveParam(RC_KEY3, &ohm_correction, sizeof(ohm_correction));
	eepromSaveParam(RC_KEY4, &loopTime, sizeof(loopTime));
	eepromSaveParam(RC_KEY5, &tempSet, sizeof(tempSet));
	eepromSaveParam(RC_KEY6, &thresh_temp, sizeof(thresh_temp));
	eepromSaveParam(RC_KEY7, &deltaT, sizeof(deltaT));
	eepromSaveParam(RC_KEY8, &deltaR, sizeof(deltaR));
}

/**
 * translate the ambient temperature the same amount as the distance between the Truma setpoint and the wanted setpoint
 * the dT = Ta - Ts must be equal to dT1 = Te - Tt
 * where Ta = ambient temperature
 * where Ts = setpoint temperature
 * where Te = equivalent temperature
 * where Tt = truma temperature
 * Ta - Ts = Te - Tt  --> Te = Ta - Ts + Tt
 */
int16_t evalTempEquival(uint8_t taH, uint8_t taL) {
	int16_t tempE = (taH * 10) - tempSet + thresh_temp + taL;
	return tempE;
}
/**
 * evaluate the exposed resistance based on the wiper position
 */
int evalResistance(uint8_t wiper) {

	int res = 0;
#if defined HAS_DIAG && HAS_DIAG == 1
	if (HAL_GPIO_ReadPin(LowRange_GPIO_Port, LowRange_Pin) == GPIO_PIN_RESET) {
		res = lowRes_value;
	}
	res += ohm_correction;
	res += WIPER_OHM_AT_POS(wiper);
#endif
	return res;
}

/**
 * evaluate the equivalent temperature based on the NTC resistance
 *             Beta
 * T = ---------------------
 *         Rt     Beta
 *     ln ---- + ------
 *         R0*     T0
 */
void evalTemp(int ntcValue, uint8_t *equTempH, uint8_t *equTempL) {
#if defined HAS_DIAG && HAS_DIAG == 1
	//LPP doens't work properly the result ins't correct
	float denom = log((float) ntcValue / (float) BASE_RES);
	denom += (beta / REF_TEMP);
	float temp = (beta / denom) - 273.25;
	*equTempH = floor(temp);
	*equTempL = (temp - (float) (*equTempH)) * 10;
#endif
} // end evalTemp

/**
 * get the wiper setting from the provided temperature
 *                           1     1
 * Rt = R0 * exp ( Beta * ( --- - --- )
 *                           T     T0
 *
 */
uint8_t getWiperFromTemp(uint8_t taH, uint8_t taL) {

	uint8_t wiper = 0xff;
#if defined HAS_DIAG && HAS_DIAG == 1
	float resistance = 10000;
	float currentTemp = 273.25;

	int16_t temp = evalTempEquival(taH, taL);
	// check if T is in the linearization zone
	int16_t dT = temp - thresh_temp;
	if (dT > (-deltaT) && dT < deltaT) {
		// in this case we apply a new and specific rule base on hysteresisR/hysteresisT
		currentTemp += (thresh_temp / 10.0);
		float resistanceBase = BASE_RES * exp(-beta * (REF_TEMP_INV - 1 / currentTemp));
		// now apply a linear constrain based on provide data
		int16_t dR = -(dT * deltaR) / deltaT; // LPP check the sign this behavior must be like an NTC
		resistance = resistanceBase + dR;
	} // end if Temperature distance is inside the required bounds
	else {
		currentTemp += (temp / 10.0);
		resistance = BASE_RES * exp(-beta * (REF_TEMP_INV - 1 / currentTemp));
	} //end else the temperature is far from the thresholds

	resistance -= ohm_correction;

	if (resistance > WIPER_RES) {
		setLowRange(1); //insert the low value resistor
		resistance -= lowRes_value;
	} // end if the resistance value is greater than the maximum pot value
	else {
		setLowRange(0); // shorts the low value resistor
	}

	wiper=255;
	if (resistance <= WIPER_RES) {
		wiper = (resistance / WIPER_OHMxSTEP);
	}
#endif
	return wiper;
}

/**
 * set the pin level accordingly to the required LowLevel
 * an high level on the LowRange_Pin disable the switch so the resistance is higher
 * a low level on the LowRange_Pin close the switch so the resistance is lower
 */
void setLowRange(uint8_t isLowRange) {
	if (isLowRange == 0) {
		HAL_GPIO_WritePin(LowRange_GPIO_Port, LowRange_Pin, GPIO_PIN_RESET);
		HAL_GPIO_WritePin(DL_BLUE_GPIO_Port, DL_BLUE_Pin, GPIO_PIN_SET);
	} else {
		HAL_GPIO_WritePin(LowRange_GPIO_Port, LowRange_Pin, GPIO_PIN_SET);
		HAL_GPIO_WritePin(DL_BLUE_GPIO_Port, DL_BLUE_Pin, GPIO_PIN_RESET);
	}
}

/**
 * retrieve if the LowLevel is set or not
 */
uint8_t getLowRange() {
	uint8_t ret = 1;
	if (HAL_GPIO_ReadPin(LowRange_GPIO_Port, LowRange_Pin) == GPIO_PIN_RESET)
		ret = 0;
	return ret;
}

/**
 * command the electronic potentiometer in order to set the wiper at the required value
 */
void setWiper(uint8_t wiper) {

	writeWiper(wiper);
}

/**
 *
 */
void HAL_GPIO_EXTI_Callback(uint16_t GPIO_Pin) {
	GPIO_TypeDef *port;
	uint16_t pin;
	uint8_t valid = 0;
	uint8_t btn;

	switch (GPIO_Pin) {
	case SW_DX_Pin:
		port = SW_DX_GPIO_Port;
		pin = SW_DX_Pin;
		btn = DX_BTN;
		valid = 1;
		break;
	case SW_ENTER_Pin:
		port = SW_ENTER_GPIO_Port;
		pin = SW_ENTER_Pin;
		btn = ENTER_BTN;
		valid = 1;
		break;
	case SW_GIU_Pin:
		port = SW_GIU_GPIO_Port;
		pin = SW_GIU_Pin;
		btn = GIU_BTN;
		valid = 1;
		break;
	case SW_SX_Pin:
		port = SW_SX_GPIO_Port;
		pin = SW_SX_Pin;
		btn = SX_BTN;
		valid = 1;
		break;
	case SW_SU_Pin:
		port = SW_SU_GPIO_Port;
		pin = SW_SU_Pin;
		btn = SU_BTN;
		valid = 1;
		break;
	default:
		break;
	}

	if (valid == 1) {
		//check if hasToGoInStop is active in such case re-init the display and clear the hasToGoInStop
		if(hasToGoInStop == 1) {
			hasToGoInStop = 0;
			display2Update = 1;
		}

		displayTime2Wait=menu[currentMenu].tout; // reset the timer on every event
		if (HAL_GPIO_ReadPin(port, pin) == GPIO_PIN_RESET) {
			buttons_state = btn;
			buttonTime = BUTTON_LONG_TIME;
		} else {
			//buttons_state &= ~(BTN_LONG_MASK);
			buttons_state = 0;
			buttonTime = 0; // reset time
			if (pin == SW_SX_Pin)
				handleMenu(1);
			if (pin == SW_DX_Pin)
				handleMenu(0);
			if (pin == SW_GIU_Pin) {
				//if not in setting then change row otherwise is handled into setting menu
				if ((selectedRow & ROW_SETTING_ON) == 0) {
					selectedRow++;
					if (selectedRow > SETTING_MAX_ROW)
						selectedRow = SETTING_MAX_ROW;
					selectedRow |= ROW_CHANGE_SET;
				}
			}
			if (pin == SW_SU_Pin) {
				//if not in setting then change row otherwise is handled into setting menu
				if ((selectedRow & ROW_SETTING_ON) == 0) {
					selectedRow--;
					if (selectedRow < 1)
						selectedRow = 1;
					selectedRow |= ROW_CHANGE_SET;
				}
			}
			if (pin == SW_ENTER_Pin) {
				//toggle the SETTING ON
				if ((selectedRow & ROW_SETTING_ON) != 0) {
					selectedRow &= ~ROW_SETTING_ON;
					selectedRow |= ROW_CHANGE_SET;
					writeDataOnEEprom();
				} else {
					selectedRow |= ROW_SETTING_ON;
				}
			}
		}
	}

}
/* USER CODE END 4 */

void Error_Handler(void)
{
	__disable_irq();
	while (1) {
	}
}
